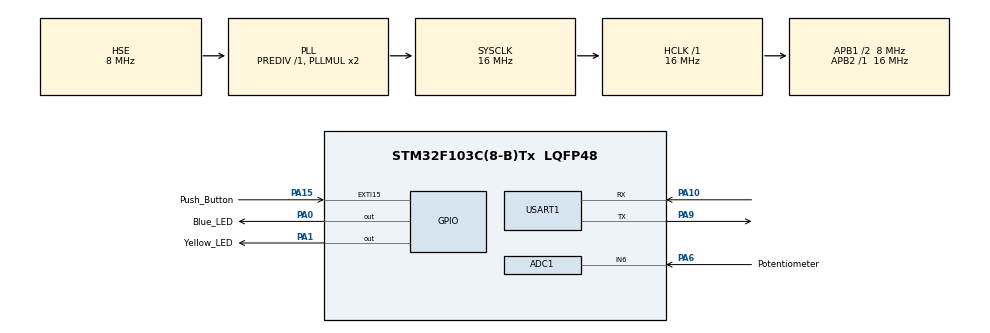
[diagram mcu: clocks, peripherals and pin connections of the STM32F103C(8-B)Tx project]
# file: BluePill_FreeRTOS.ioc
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ADC1.Channel-0\#ChannelRegularConversion=ADC_CHANNEL_6
ADC1.NbrOfConversionFlag=1
ADC1.Rank-0\#ChannelRegularConversion=1
ADC1.SamplingTime-0\#ChannelRegularConversion=ADC_SAMPLETIME_7CYCLES_5
ADC1.master=1
Dma.Request0=USART1_RX
Dma.Request1=USART1_TX
Dma.USART1_RX.0.Direction=DMA_PERIPH_TO_MEMORY
Dma.USART1_RX.0.Instance=DMA1_Channel5
Dma.USART1_RX.0.MemDataAlignment=DMA_MDATAALIGN_BYTE
Dma.USART1_RX.0.MemInc=DMA_MINC_ENABLE
Dma.USART1_RX.0.Mode=DMA_NORMAL
Dma.USART1_RX.0.PeriphDataAlignment=DMA_PDATAALIGN_BYTE
Dma.USART1_RX.0.PeriphInc=DMA_PINC_DISABLE
Dma.USART1_RX.0.Priority=DMA_PRIORITY_LOW
Dma.USART1_TX.1.Direction=DMA_MEMORY_TO_PERIPH
Dma.USART1_TX.1.Instance=DMA1_Channel4
Dma.USART1_TX.1.MemDataAlignment=DMA_MDATAALIGN_BYTE
Dma.USART1_TX.1.MemInc=DMA_MINC_ENABLE
Dma.USART1_TX.1.Mode=DMA_CIRCULAR
Dma.USART1_TX.1.PeriphDataAlignment=DMA_PDATAALIGN_BYTE
Dma.USART1_TX.1.PeriphInc=DMA_PINC_DISABLE
Dma.USART1_TX.1.Priority=DMA_PRIORITY_LOW
FREERTOS.Tasks01=defaultTask,0,128,StartDefaultTask,Default,NULL,Dynamic,NULL,NULL
Mcu.Family=STM32F1
Mcu.Name=STM32F103C(8-B)Tx
Mcu.Package=LQFP48
NVIC.DMA1_Channel4_IRQn=true\:5\:0\:false\:false\:true\:true\:false\:true\:true
NVIC.DMA1_Channel5_IRQn=true\:5\:0\:false\:false\:true\:true\:false\:true\:true
NVIC.EXTI15_10_IRQn=true\:5\:0\:false\:false\:true\:true\:true\:true\:true
NVIC.PriorityGroup=NVIC_PRIORITYGROUP_4
NVIC.TIM1_UP_IRQn=true\:15\:0\:false\:false\:true\:false\:false\:true\:true
NVIC.TimeBase=TIM1_UP_IRQn
NVIC.TimeBaseIP=TIM1
NVIC.USART1_IRQn=true\:5\:0\:false\:false\:true\:true\:true\:true\:true
PA0-WKUP.GPIO_Label=Blue_LED
PA0-WKUP.Signal=GPIO_Output
PA1.GPIO_Label=Yellow_LED
PA1.Signal=GPIO_Output
PA10.Mode=Asynchronous
PA10.Signal=USART1_RX
PA13.Mode=Serial_Wire
PA13.Signal=SYS_JTMS-SWDIO
PA14.Mode=Serial_Wire
PA14.Signal=SYS_JTCK-SWCLK
PA15.GPIO_Label=Push_Button
PA15.Signal=GPXTI15
PA6.GPIO_Label=Potentiometer
PA6.Signal=ADCx_IN6
PA9.Mode=Asynchronous
PA9.Signal=USART1_TX
PD0-OSC_IN.Mode=HSE-External-Oscillator
PD0-OSC_IN.Signal=RCC_OSC_IN
PD1-OSC_OUT.Mode=HSE-External-Oscillator
PD1-OSC_OUT.Signal=RCC_OSC_OUT
ProjectManager.HeapSize=0x200
ProjectManager.StackSize=0x400
ProjectManager.TargetToolchain=CMake
RCC.AHBFreq_Value=16000000
RCC.APB1CLKDivider=RCC_HCLK_DIV2
RCC.APB1Freq_Value=8000000
RCC.APB1TimFreq_Value=16000000
RCC.APB2Freq_Value=16000000
RCC.APB2TimFreq_Value=16000000
RCC.HCLKFreq_Value=16000000
RCC.PLLSourceVirtual=RCC_PLLSOURCE_HSE
RCC.SYSCLKFreq_VALUE=16000000
RCC.SYSCLKSource=RCC_SYSCLKSOURCE_PLLCLK
RCC.USBFreq_Value=16000000
SH.ADCx_IN6.0=ADC1_IN6,IN6
USART1.VirtualMode=VM_ASYNC
VP_FREERTOS_VS_CMSIS_V1.Mode=CMSIS_V1
VP_SYS_VS_tim1.Mode=TIM1
board=custom

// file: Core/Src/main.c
/* USER CODE BEGIN Header */
/**
  ******************************************************************************
  * @file           : main.c
  * @brief          : Main program body
  ******************************************************************************
  * @attention
  *
  * Copyright (c) 2025 STMicroelectronics.
  * All rights reserved.
  *
  * This software is licensed under terms that can be found in the LICENSE file
  * in the root directory of this software component.
  * If no LICENSE file comes with this software, it is provided AS-IS.
  *
  ******************************************************************************
  */
/* USER CODE END Header */
#include "main.h"
#include "cmsis_os.h"

/* USER CODE BEGIN Includes */
#include "FreeRTOS.h"
#include "task.h"
#include "stdio.h"

/* USER CODE END Includes */

ADC_HandleTypeDef hadc1;

UART_HandleTypeDef huart1;
DMA_HandleTypeDef hdma_usart1_rx;
DMA_HandleTypeDef hdma_usart1_tx;

osThreadId defaultTaskHandle;
/* USER CODE BEGIN PV */
#define BUFFER_SIZE 64

uint8_t rxBuffer[BUFFER_SIZE]; // Buffer for receiving data
uint8_t TxData[BUFFER_SIZE]; // Buffer for transmitting data
uint8_t dataToSend[BUFFER_SIZE]; // Data to send
uint8_t dataReceived[BUFFER_SIZE]; // Data received from UART

uint8_t dataToSendLength = 0; // Length of the data to send
uint8_t dataReceivedIndex = 0; // Index for the received data
uint8_t isSent = 1; // Flag to check if data is sent
int currentSend = 0; // Current number of bytes sent
int maxSend = 1024 * 100; // Maximum number of bytes to send

uint16_t ADCValue = 0; // Variable to store ADC value
uint8_t buttonPushFlag = 0; // Flag to check if button is pushed

static SemaphoreHandle_t xPrintfSemaphore = NULL;
static SemaphoreHandle_t xSemaphore = NULL; // Semaphore for protecting shared resource

int BlueLED_TaskProfier = 0; // Task profiler variable
int Uart_TaskProfier = 0; // Task profiler variable
int YellowLED_TaskProfier = 0; // Task profiler variable
int ADCTaskProfier = 0; // Task profiler variable
int pushButtonTaskProfier = 0; // Task profiler variable
/* USER CODE END PV */

void SystemClock_Config(void);
static void MX_GPIO_Init(void);
static void MX_DMA_Init(void);
static void MX_USART1_UART_Init(void);
static void MX_ADC1_Init(void);
void StartDefaultTask(void const * argument);

/* USER CODE BEGIN 0 */

/**
 * @brief  UART receive complete callback
 *         This function is called when a byte is received over UART.
 *         It sends the received byte to the FreeRTOS queue for processing.
 * @param  huart: pointer to the UART handle
 */
int __io_putchar(int ch)
{
    if (xPrintfSemaphore != NULL)
    {
        if (xSemaphoreTake(xPrintfSemaphore, portMAX_DELAY) == pdTRUE)
        {
            HAL_UART_Transmit(&huart1, (uint8_t *)&ch, 1, HAL_MAX_DELAY); // Transmit the character over UART
            xSemaphoreGive(xPrintfSemaphore);
        }
    }
    return ch;
}

uint8_t GetPushButtonFlag(void)
{
    uint8_t flag = 0;
    if (xSemaphoreTake(xSemaphore, portMAX_DELAY) == pdTRUE)
    {
        flag = buttonPushFlag; // Get the button push flag
        xSemaphoreGive(xSemaphore);
    }
    return flag;
}

void HAL_UART_TxHalfCpltCallback(UART_HandleTypeDef *huart)
{
    for (int i = 0; i < (int)sizeof(TxData) / 2; i++)
    {
      TxData[i] = i % 256;
    }
    currentSend += sizeof(TxData) / 2; // Update the current send size
}

void HAL_UART_TxCpltCallback(UART_HandleTypeDef *huart)
{
  for (int i = (int)sizeof(TxData) / 2; i < (int)sizeof(TxData); i++)
  {
    TxData[i] = i % 256;
  }
  currentSend += sizeof(TxData) / 2; // Update the current send size
  isSent = 1; // Reset the flag to indicate that data can be sent again

  if (currentSend >= maxSend) // Check if the maximum send size has been reached
  {
    HAL_UART_DMAStop(&huart1); // Stop the DMA transfer
  }
}

void HAL_UART_RxCpltCallback(UART_HandleTypeDef *huart)
{
  if (dataReceivedIndex < BUFFER_SIZE) // Check if the buffer is not full
  {
    dataReceived[dataReceivedIndex++] = rxBuffer[0]; // Store the received byte in the buffer
    HAL_UART_Receive_DMA(&huart1, &rxBuffer[0], 1); // Start receiving the next byte
  }
}
void HAL_UART_RxHalfCpltCallback(UART_HandleTypeDef *huart)
{
  for (int i = 0; i < (int)sizeof(rxBuffer) / 2; i++)
  {
    dataReceived[dataReceivedIndex++] = rxBuffer[i]; // Store the received bytes in the buffer
  }
}

void SendData(uint8_t *data, uint16_t length) {
  if (length > 0 && data != NULL) // Check if the length is greater than 0 and data is not NULL
  {
    HAL_UART_Transmit_DMA(&huart1, data, length); // Transmit the data over UART using DMA
  }
}

// void HAL_GPIO_EXTI_IRQHandler(uint16_t GPIO_Pin)
// {
//   if (GPIO_Pin == Push_Button_Pin) // Check if the interrupt is from the push button
//   {
//     // Semophore to protect the shared resource buttonPushFlag
//     if (xSemaphoreTake(xSemaphore, portMAX_DELAY) == pdTRUE)
//     {
//         buttonPushFlag = 1; // Set the button push flag
//         xSemaphoreGive(xSemaphore); // Release the semaphore
//     }
//   }
// }

static void BlueLED_Task(void *argument) {
  for(;;) {
      // If ADC value is greater than 1000, torun on the blue LED, else turn it off
      if (ADCValue > 1000) {
          HAL_GPIO_WritePin(Blue_LED_GPIO_Port, Blue_LED_Pin, GPIO_PIN_SET); // Turn on blue LED
      } else {
          HAL_GPIO_WritePin(Blue_LED_GPIO_Port, Blue_LED_Pin, GPIO_PIN_RESET); // Turn off blue LED
      }

      BlueLED_TaskProfier++; // Increment task profiler variable
  }
}

static void YellowLED_Task(void *argument) {
  for(;;) {
      HAL_GPIO_TogglePin(Yellow_LED_GPIO_Port, Yellow_LED_Pin); // Toggle LED

      vTaskDelay(pdMS_TO_TICKS(5000)); // Delay for 500 milliseconds

      YellowLED_TaskProfier++; // Increment task profiler variable
  }
}

static void Uart_Task(void *argument) {
  for(;;) {

      if (isSent) // Check if data can be sent
      {
          HAL_UART_Transmit_DMA(&huart1, TxData, sizeof(TxData)); // Transmit data over UART using DMA
          isSent = 0; // Reset the flag to indicate that data is being sent
      }

      if (dataReceivedIndex > 0) // Check if there is data in the buffer
      {
          for (int i = 0; i < dataReceivedIndex; i++)
          {
              printf("Received: %c\n", dataReceived[i]); // Print the received data
          }
          dataReceivedIndex = 0; // Reset the index after processing the received data
      }

      Uart_TaskProfier++; // Increment task profiler variable
      vTaskDelay(pdMS_TO_TICKS(100)); // Delay for 100 milliseconds
  }
}

static void ADCTask(void *argument) {
  for(;;) {
      HAL_ADC_Start(&hadc1); // Start ADC conversion
      HAL_ADC_PollForConversion(&hadc1, HAL_MAX_DELAY); // Poll for conversion completion
      ADCValue = HAL_ADC_GetValue(&hadc1); // Get the ADC value
      HAL_ADC_Stop(&hadc1); // Stop ADC conversion
      printf("ADC Value: %d\n", ADCValue); // Print the ADC value
      ADCTaskProfier++; // Increment task profiler variable
  }
}

static void pushButtonTask(void *argument) {
  for(;;) {
      if (GetPushButtonFlag()) // Check if the button is pushed
      {
          HAL_GPIO_TogglePin(Yellow_LED_GPIO_Port, Yellow_LED_Pin); // Toggle LED
          buttonPushFlag = 0; // Reset the button push flag
      }
      pushButtonTaskProfier++; // Increment task profiler variable
  }
}

void tasks_init(void) {

if (xTaskCreate(BlueLED_Task, "BlueLED_Task", 128, NULL, 1, NULL) != pdPASS) {
  // Handle error: BlueLED_Task creation failed
  printf("Error: BlueLED_Task creation failed\n");
}

if (xTaskCreate(YellowLED_Task, "YellowLED_Task", 128, NULL, 1, NULL) != pdPASS) {
  // Handle error: YellowLED_Task creation failed
  printf("Error: YellowLED_Task creation failed\n");
}

if (xTaskCreate(Uart_Task, "Uart_Task", 128, NULL, 1, NULL) != pdPASS) {
  // Handle error: Uart_Task creation failed
  printf("Error: Uart_Task creation failed\n");
}

if (xTaskCreate(pushButtonTask, "pushButtonTask", 128, NULL, 1, NULL) != pdPASS) {
  // Handle error: pushButtonTask creation failed
  printf("Error: pushButtonTask creation failed\n");
}
if (xTaskCreate(ADCTask, "ADCTask", 256, NULL, 1, NULL) != pdPASS) {
  // Handle error: ADCTask creation failed
  printf("Error: ADCTask creation failed\n");
}

  xPrintfSemaphore = xSemaphoreCreateMutex(); // Create a mutex for printf
  if (xPrintfSemaphore == NULL) {
      // Handle error
  }
  xSemaphore = xSemaphoreCreateMutex(); // Create a mutex for protecting shared resource
  if (xSemaphore == NULL) {
      // Handle error
  }

}

/* USER CODE END 0 */

int main(void)
{

  /* MCU Configuration--------------------------------------------------------*/

  /* Reset of all peripherals, Initializes the Flash interface and the Systick. */
  HAL_Init();

  /* Configure the system clock */
  SystemClock_Config();

  /* Initialize all configured peripherals */
  MX_GPIO_Init();
  MX_DMA_Init();
  MX_USART1_UART_Init();
  MX_ADC1_Init();
  /* USER CODE BEGIN 2 */

  // Start receiving data in DMA mode
  HAL_UART_Receive_DMA(&huart1, rxBuffer, 1);
  // Initialize data to send
  dataToSend[0] = 'H';
  dataToSend[1] = 'e';
  dataToSend[2] = 'l';
  dataToSend[3] = 'l';
  dataToSend[4] = 'o';
  dataToSend[5] = '\0'; // Null-terminate the string
  dataToSendLength = 5; // Length of the data to send
  // Start transmitting data in DMA mode
  // HAL_UART_Transmit_DMA(&huart1, dataToSend, dataToSendLength);

  SendData(dataToSend, dataToSendLength); // Send data over UART using DMA

  // Ensure clock for push button is enabled

  /* USER CODE END 2 */

  /* Create the thread(s) */
  /* definition and creation of defaultTask */

  /* USER CODE BEGIN RTOS_THREADS */
  tasks_init(); // Initialize tasks here if needed
  vTaskStartScheduler(); // Start the FreeRTOS scheduler
  /* add threads, ... */
  /* USER CODE END RTOS_THREADS */

  /* Start scheduler */

  /* We should never get here as control is now taken by the scheduler */

  /* Infinite loop */
  while (1)
  {

  }
}

void SystemClock_Config(void)
{
  RCC_OscInitTypeDef RCC_OscInitStruct = {0};
  RCC_ClkInitTypeDef RCC_ClkInitStruct = {0};
  RCC_PeriphCLKInitTypeDef PeriphClkInit = {0};

  /** Initializes the RCC Oscillators according to the specified parameters
  * in the RCC_OscInitTypeDef structure.
  */
  RCC_OscInitStruct.OscillatorType = RCC_OSCILLATORTYPE_HSE;
  RCC_OscInitStruct.HSEState = RCC_HSE_ON;
  RCC_OscInitStruct.HSEPredivValue = RCC_HSE_PREDIV_DIV1;
  RCC_OscInitStruct.HSIState = RCC_HSI_ON;
  RCC_OscInitStruct.PLL.PLLState = RCC_PLL_ON;
  RCC_OscInitStruct.PLL.PLLSource = RCC_PLLSOURCE_HSE;
  RCC_OscInitStruct.PLL.PLLMUL = RCC_PLL_MUL2;
  if (HAL_RCC_OscConfig(&RCC_OscInitStruct) != HAL_OK)
  {
    Error_Handler();
  }

  /** Initializes the CPU, AHB and APB buses clocks
  */
  RCC_ClkInitStruct.ClockType = RCC_CLOCKTYPE_HCLK|RCC_CLOCKTYPE_SYSCLK
                              |RCC_CLOCKTYPE_PCLK1|RCC_CLOCKTYPE_PCLK2;
  RCC_ClkInitStruct.SYSCLKSource = RCC_SYSCLKSOURCE_PLLCLK;
  RCC_ClkInitStruct.AHBCLKDivider = RCC_SYSCLK_DIV1;
  RCC_ClkInitStruct.APB1CLKDivider = RCC_HCLK_DIV2;
  RCC_ClkInitStruct.APB2CLKDivider = RCC_HCLK_DIV1;

  if (HAL_RCC_ClockConfig(&RCC_ClkInitStruct, FLASH_LATENCY_0) != HAL_OK)
  {
    Error_Handler();
  }
  PeriphClkInit.PeriphClockSelection = RCC_PERIPHCLK_ADC;
  PeriphClkInit.AdcClockSelection = RCC_ADCPCLK2_DIV2;
  if (HAL_RCCEx_PeriphCLKConfig(&PeriphClkInit) != HAL_OK)
  {
    Error_Handler();
  }
}

static void MX_ADC1_Init(void)
{

  ADC_ChannelConfTypeDef sConfig = {0};

  /** Common config
  */
  hadc1.Instance = ADC1;
  hadc1.Init.ScanConvMode = ADC_SCAN_DISABLE;
  hadc1.Init.ContinuousConvMode = DISABLE;
  hadc1.Init.DiscontinuousConvMode = DISABLE;
  hadc1.Init.ExternalTrigConv = ADC_SOFTWARE_START;
  hadc1.Init.DataAlign = ADC_DATAALIGN_RIGHT;
  hadc1.Init.NbrOfConversion = 1;
  if (HAL_ADC_Init(&hadc1) != HAL_OK)
  {
    Error_Handler();
  }

  /** Configure Regular Channel
  */
  sConfig.Channel = ADC_CHANNEL_6;
  sConfig.Rank = ADC_REGULAR_RANK_1;
  sConfig.SamplingTime = ADC_SAMPLETIME_7CYCLES_5;
  if (HAL_ADC_ConfigChannel(&hadc1, &sConfig) != HAL_OK)
  {
    Error_Handler();
  }

}

static void MX_USART1_UART_Init(void)
{

  huart1.Instance = USART1;
  huart1.Init.BaudRate = 115200;
  huart1.Init.WordLength = UART_WORDLENGTH_8B;
  huart1.Init.StopBits = UART_STOPBITS_1;
  huart1.Init.Parity = UART_PARITY_NONE;
  huart1.Init.Mode = UART_MODE_TX_RX;
  huart1.Init.HwFlowCtl = UART_HWCONTROL_NONE;
  huart1.Init.OverSampling = UART_OVERSAMPLING_16;
  if (HAL_UART_Init(&huart1) != HAL_OK)
  {
    Error_Handler();
  }

}

static void MX_DMA_Init(void)
{

  /* DMA controller clock enable */
  __HAL_RCC_DMA1_CLK_ENABLE();

  /* DMA interrupt init */
  /* DMA1_Channel4_IRQn interrupt configuration */
  HAL_NVIC_SetPriority(DMA1_Channel4_IRQn, 5, 0);
  HAL_NVIC_EnableIRQ(DMA1_Channel4_IRQn);
  /* DMA1_Channel5_IRQn interrupt configuration */
  HAL_NVIC_SetPriority(DMA1_Channel5_IRQn, 5, 0);
  HAL_NVIC_EnableIRQ(DMA1_Channel5_IRQn);

}

static void MX_GPIO_Init(void)
{
  GPIO_InitTypeDef GPIO_InitStruct = {0};

  /* GPIO Ports Clock Enable */
  __HAL_RCC_GPIOD_CLK_ENABLE();
  __HAL_RCC_GPIOA_CLK_ENABLE();

  /*Configure GPIO pin Output Level */
  HAL_GPIO_WritePin(GPIOA, Blue_LED_Pin|Yellow_LED_Pin, GPIO_PIN_RESET);

  /*Configure GPIO pins : Blue_LED_Pin Yellow_LED_Pin */
  GPIO_InitStruct.Pin = Blue_LED_Pin|Yellow_LED_Pin;
  GPIO_InitStruct.Mode = GPIO_MODE_OUTPUT_PP;
  GPIO_InitStruct.Pull = GPIO_NOPULL;
  GPIO_InitStruct.Speed = GPIO_SPEED_FREQ_LOW;
  HAL_GPIO_Init(GPIOA, &GPIO_InitStruct);

  /*Configure GPIO pin : Push_Button_Pin */
  GPIO_InitStruct.Pin = Push_Button_Pin;
  GPIO_InitStruct.Mode = GPIO_MODE_IT_RISING;
  GPIO_InitStruct.Pull = GPIO_NOPULL;
  HAL_GPIO_Init(Push_Button_GPIO_Port, &GPIO_InitStruct);

  /* EXTI interrupt init*/
  HAL_NVIC_SetPriority(EXTI15_10_IRQn, 5, 0);
  HAL_NVIC_EnableIRQ(EXTI15_10_IRQn);

}

void StartDefaultTask(void const * argument)
{
  for(;;)
  {
    osDelay(1);
  }
}

void HAL_TIM_PeriodElapsedCallback(TIM_HandleTypeDef *htim)
{
  if (htim->Instance == TIM1)
  {
    HAL_IncTick();
  }
}

void Error_Handler(void)
{
  __disable_irq();
  while (1)
  {
  }
}
